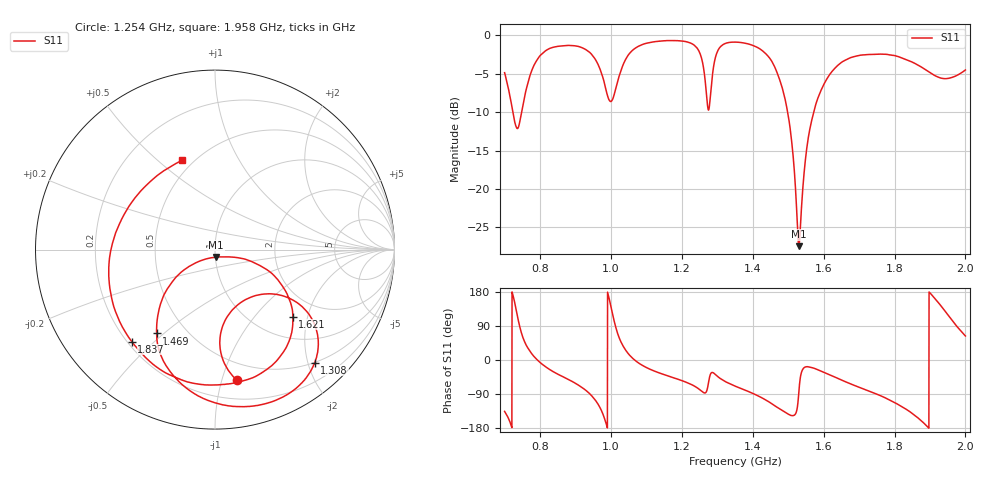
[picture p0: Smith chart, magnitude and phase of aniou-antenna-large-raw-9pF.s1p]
!Keysight Technologies,P9371A,MY57212015,Z.15.41.75
!Date: Wednesday, May 04, 2022 11:36:35
!Correction: S11(C  1-Port  )
!S1P File: Measurement: S11:
# Hz S  dB  R 50
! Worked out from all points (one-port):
!   2601 points, 700 MHz to 2 GHz, reference 50 ohm
!   lowest |S11| = -27.5 dB at 1.53 GHz (marker M1), VSWR 1.09, Z = 50.5 - j4.23 ohm
!   |S11| at or under -10 dB: 723.2 MHz to 747.8 MHz (24.62 MHz wide, 3.35 % of centre); 1.498 GHz to 1.572 GHz (73.45 MHz wide, 4.78 % of centre)
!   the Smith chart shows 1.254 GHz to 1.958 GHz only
!   S11 on the Smith chart (normalised r, x): 1.254 GHz: 0.35, -1.12; 1.308 GHz: 0.50, -2.12; 1.469 GHz: 0.34, -0.47; 1.621 GHz: 1.46, -1.62; 1.837 GHz: 0.22, -0.43; 1.958 GHz: 0.44, +0.61
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7e8  -4.85 -135.6
7.335e8  -12.00 128.0
7.545e8  -8.41 52.4
7.995e8  -2.67 -6.1
8.625e8  -1.37 -43.2
9.38e8  -2.13 -87.2
9.805e8  -6.02 -150.7
1.007e9  -8.03 111.1
1.025e9  -5.02 54.6
1.0745e9  -1.49 -5.6
1.1875e9  -0.68 -50.3
1.2535e9  -2.64 -80.4
1.2795e9  -8.44 -40.7
1.308e9  -1.52 -48.5
1.35e9  -0.86 -68.8
1.416e9  -1.64 -95.1
1.469e9  -4.89 -124.8
1.5125e9  -14.97 -146.9
1.5305e9  -27.46 -80.5
1.563e9  -11.77 -19.4
1.621e9  -4.85 -40.7
1.675e9  -2.92 -62.5
1.767e9  -2.44 -96.9
1.8365e9  -3.21 -132.2
1.8375e9  -3.22 -132.7
1.899e9  -4.80 178.1
1.958e9  -5.52 110.0
2e9  -4.50 63.4
